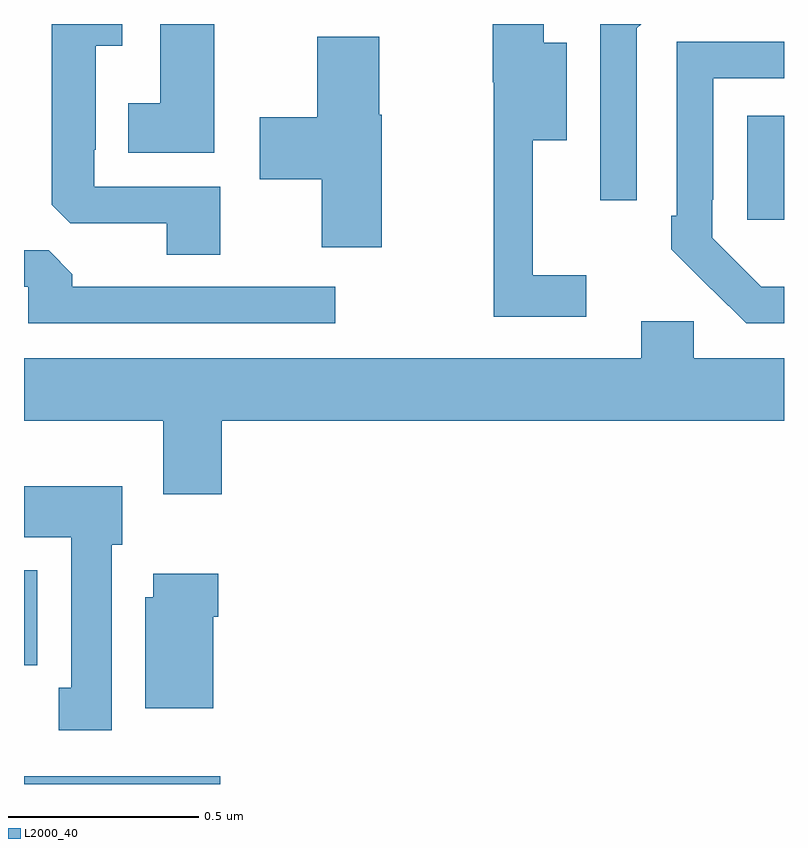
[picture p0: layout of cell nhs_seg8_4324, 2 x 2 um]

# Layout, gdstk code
import gdstk
lib = gdstk.Library(unit=1e-6, precision=1e-09)
def R(c, l, rs):  # rectangles x0, y0, x1, y1
    for r in rs: c.add(gdstk.rectangle(r[:2], r[2:], *l))
def P(c, l, *ps):  # polygons
    for p in ps: c.add(gdstk.Polygon(p, *l))
L2000_40 = (2000, 40)

nhs_seg8_4324 = lib.new_cell('nhs_seg8_4324')
R(nhs_seg8_4324, L2000_40, [(169,1092.9,169.516,1092.921), (169,1093.212,169.035,1093.462), (170.903,1094.385,171,1094.659)])
P(nhs_seg8_4324, L2000_40, [(170.613,1094.889),(170.624,1094.9),(170.517,1094.9),(170.517,1094.436),(170.613,1094.436)],
  [(170.479,1094.239),(170.339,1094.239),(170.339,1094.594),(170.428,1094.594),(170.428,1094.851),(170.368,1094.851),(170.368,1094.9),(170.233,1094.9),(170.233,1094.747),(170.236,1094.747),(170.236,1094.13),(170.479,1094.13)],
  [(169.501,1094.9),(169.358,1094.9),(169.358,1094.692),(169.274,1094.692),(169.274,1094.561),(169.501,1094.561)],
  [(169.516,1094.472),(169.185,1094.472),(169.185,1094.569),(169.189,1094.569),(169.189,1094.843),(169.258,1094.843),(169.258,1094.9),(169.073,1094.9),(169.073,1094.425),(169.122,1094.376),(169.376,1094.376),(169.376,1094.293),(169.516,1094.293)],
  [(169.942,1094.661),(169.935,1094.661),(169.935,1094.866),(169.772,1094.866),(169.772,1094.655),(169.62,1094.655),(169.62,1094.492),(169.784,1094.492),(169.784,1094.313),(169.942,1094.313)],
  [(171,1094.209),(170.94,1094.209),(170.811,1094.337),(170.811,1094.437),(170.814,1094.437),(170.814,1094.757),(171,1094.757),(171,1094.853),(170.718,1094.853),(170.718,1094.395),(170.703,1094.395),(170.703,1094.307),(170.808,1094.202),(170.809,1094.203),(170.9,1094.112),(171,1094.112)],
  [(169.819,1094.208),(169.127,1094.208),(169.127,1094.242),(169.065,1094.304),(169,1094.304),(169,1094.208),(169.011,1094.208),(169.011,1094.112),(169.819,1094.112)],
  [(169.52,1093.856),(171,1093.856),(171,1094.02),(170.763,1094.02),(170.763,1094.118),(170.624,1094.118),(170.624,1094.02),(169,1094.02),(169,1093.856),(169.367,1093.856),(169.367,1093.662),(169.52,1093.662)],
  [(169.231,1093.53),(169.258,1093.53),(169.258,1093.684),(169,1093.684),(169,1093.55),(169.124,1093.55),(169.124,1093.153),(169.091,1093.153),(169.091,1093.041),(169.231,1093.041)],
  [(169.498,1093.34),(169.511,1093.34),(169.511,1093.453),(169.34,1093.453),(169.34,1093.392),(169.319,1093.392),(169.319,1093.1),(169.498,1093.1)])

lib.write_gds('nhs_seg8_4324.gds')
